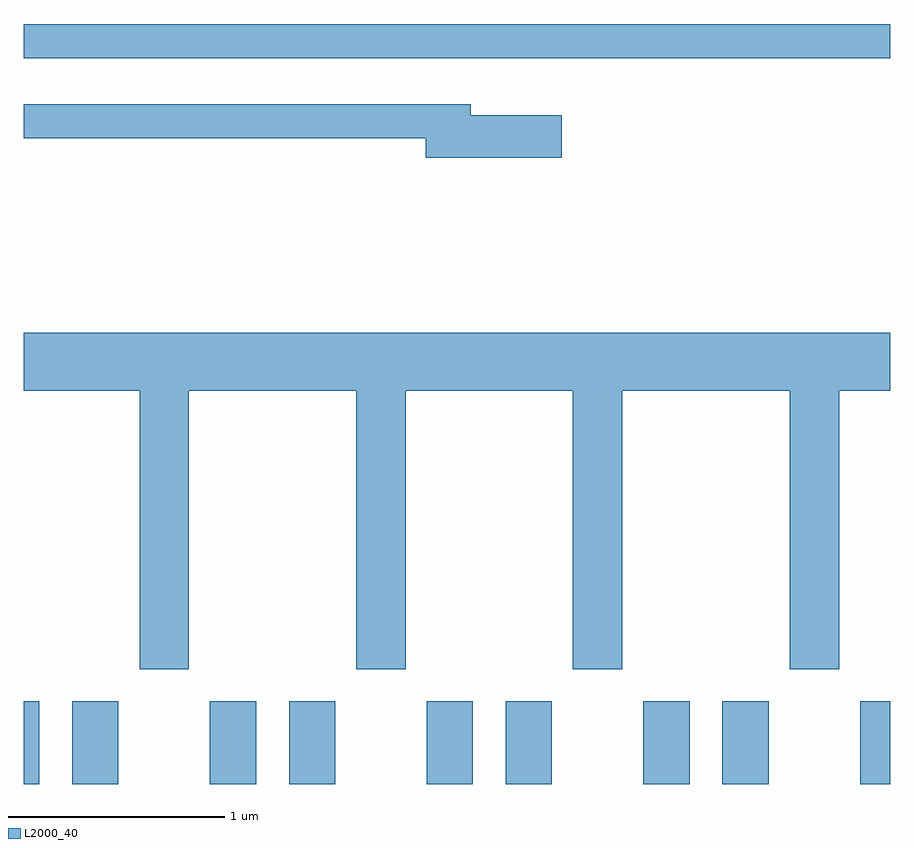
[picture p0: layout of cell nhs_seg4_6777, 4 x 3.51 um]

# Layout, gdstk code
import gdstk
lib = gdstk.Library(unit=1e-6, precision=1e-09)
def R(c, l, rs):  # rectangles x0, y0, x1, y1
    for r in rs: c.add(gdstk.rectangle(r[:2], r[2:], *l))
def P(c, l, *ps):  # polygons
    for p in ps: c.add(gdstk.Polygon(p, *l))
L2000_40 = (2000, 40)

nhs_seg4_6777 = lib.new_cell('nhs_seg4_6777')
R(nhs_seg4_6777, L2000_40, [(383.611,1343.982,383.684,1344.364), (383.836,1343.982,384.049,1344.364), (384.471,1343.982,384.684,1344.364), (384.836,1343.982,385.049,1344.364), (385.471,1343.982,385.684,1344.364), (385.836,1343.982,386.049,1344.364), (386.471,1343.982,386.684,1344.364), (386.836,1343.982,387.049,1344.364), (387.471,1343.982,387.611,1344.364), (383.611,1347.331,387.611,1347.489)])
P(nhs_seg4_6777, L2000_40, [(386.094,1347.069),(385.674,1347.069),(385.674,1347.119),(383.611,1347.119),(383.611,1346.961),(385.466,1346.961),(385.466,1346.871),(386.094,1346.871)],
  [(384.374,1345.796),(385.146,1345.796),(385.146,1344.511),(385.374,1344.511),(385.374,1345.796),(386.146,1345.796),(386.146,1344.511),(386.374,1344.511),(386.374,1345.796),(387.146,1345.796),(387.146,1344.511),(387.374,1344.511),(387.374,1345.796),(387.611,1345.796),(387.611,1346.064),(383.611,1346.064),(383.611,1345.796),(384.146,1345.796),(384.146,1344.511),(384.374,1344.511)])

lib.write_gds('nhs_seg4_6777.gds')
